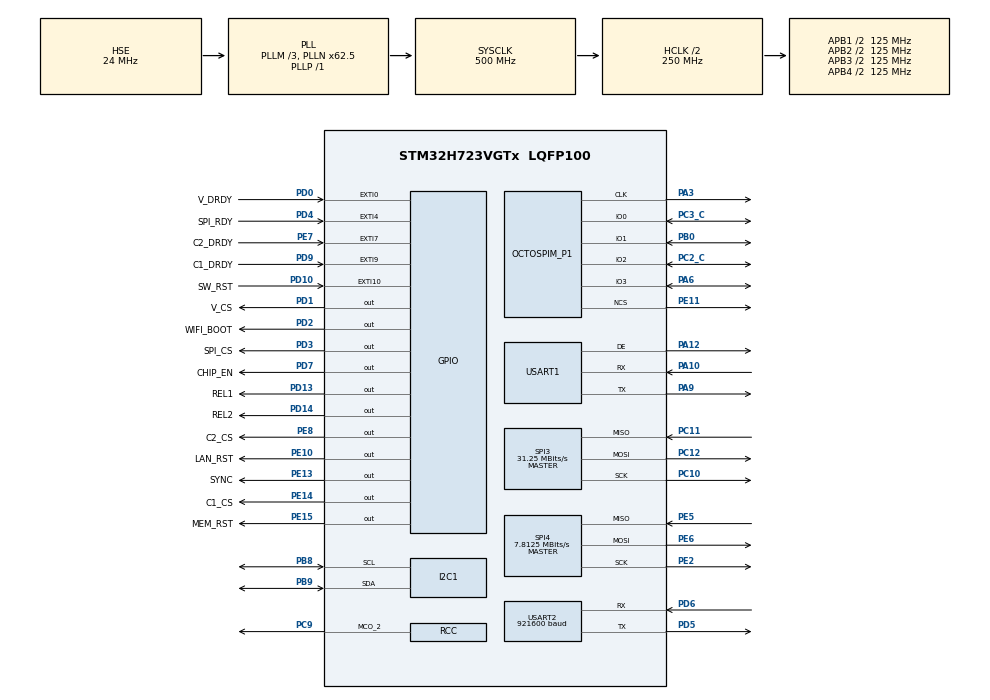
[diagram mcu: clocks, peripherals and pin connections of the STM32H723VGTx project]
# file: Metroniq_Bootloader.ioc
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CORTEX_M7.AccessPermission_S-Cortex_Memory_Protection_Unit_Region1_Settings_S=MPU_REGION_FULL_ACCESS
CORTEX_M7.AccessPermission_S-Cortex_Memory_Protection_Unit_Region2_Settings_S=MPU_REGION_FULL_ACCESS
CORTEX_M7.AccessPermission_S-Cortex_Memory_Protection_Unit_Region3_Settings_S=MPU_REGION_FULL_ACCESS
CORTEX_M7.BaseAddress_S-Cortex_Memory_Protection_Unit_Region1_Settings_S=0x30000000
CORTEX_M7.BaseAddress_S-Cortex_Memory_Protection_Unit_Region2_Settings_S=0x30000200
CORTEX_M7.BaseAddress_S-Cortex_Memory_Protection_Unit_Region3_Settings_S=0x90000000
CORTEX_M7.CPU_DCache=Enabled
CORTEX_M7.CPU_ICache=Enabled
CORTEX_M7.DisableExec_S-Cortex_Memory_Protection_Unit_Region1_Settings_S=MPU_INSTRUCTION_ACCESS_ENABLE
CORTEX_M7.Enable_S-Cortex_Memory_Protection_Unit_Region1_Settings_S=MPU_REGION_ENABLE
CORTEX_M7.Enable_S-Cortex_Memory_Protection_Unit_Region2_Settings_S=MPU_REGION_ENABLE
CORTEX_M7.Enable_S-Cortex_Memory_Protection_Unit_Region3_Settings_S=MPU_REGION_ENABLE
CORTEX_M7.IsBufferable_S-Cortex_Memory_Protection_Unit_Region1_Settings_S=MPU_ACCESS_BUFFERABLE
CORTEX_M7.IsBufferable_S-Cortex_Memory_Protection_Unit_Region3_Settings_S=MPU_ACCESS_BUFFERABLE
CORTEX_M7.IsCacheable_S-Cortex_Memory_Protection_Unit_Region1_Settings_S=MPU_ACCESS_NOT_CACHEABLE
CORTEX_M7.IsCacheable_S-Cortex_Memory_Protection_Unit_Region3_Settings_S=MPU_ACCESS_CACHEABLE
CORTEX_M7.IsShareable_S-Cortex_Memory_Protection_Unit_Region1_Settings_S=MPU_ACCESS_NOT_SHAREABLE
CORTEX_M7.IsShareable_S-Cortex_Memory_Protection_Unit_Region2_Settings_S=MPU_ACCESS_SHAREABLE
CORTEX_M7.IsShareable_S-Cortex_Memory_Protection_Unit_Region3_Settings_S=MPU_ACCESS_SHAREABLE
CORTEX_M7.Size_S-Cortex_Memory_Protection_Unit_Region1_Settings_S=MPU_REGION_SIZE_256B
CORTEX_M7.Size_S-Cortex_Memory_Protection_Unit_Region2_Settings_S=MPU_REGION_SIZE_32KB
CORTEX_M7.Size_S-Cortex_Memory_Protection_Unit_Region3_Settings_S=MPU_REGION_SIZE_64MB
CORTEX_M7.TypeExtField_S-Cortex_Memory_Protection_Unit_Region1_Settings_S=MPU_TEX_LEVEL0
CORTEX_M7.TypeExtField_S-Cortex_Memory_Protection_Unit_Region2_Settings_S=MPU_TEX_LEVEL1
CORTEX_M7.TypeExtField_S-Cortex_Memory_Protection_Unit_Region3_Settings_S=MPU_TEX_LEVEL1
CORTEX_M7.default_mode_Activation=1
Dma.Request0=SPI3_TX
Dma.Request1=SPI3_RX
Dma.Request2=SPI4_RX
Dma.Request3=SPI4_TX
Dma.SPI3_RX.1.Direction=DMA_PERIPH_TO_MEMORY
Dma.SPI3_RX.1.EventEnable=DISABLE
Dma.SPI3_RX.1.FIFOMode=DMA_FIFOMODE_DISABLE
Dma.SPI3_RX.1.Instance=DMA1_Stream1
Dma.SPI3_RX.1.MemDataAlignment=DMA_MDATAALIGN_BYTE
Dma.SPI3_RX.1.MemInc=DMA_MINC_ENABLE
Dma.SPI3_RX.1.Mode=DMA_NORMAL
Dma.SPI3_RX.1.PeriphDataAlignment=DMA_PDATAALIGN_BYTE
Dma.SPI3_RX.1.PeriphInc=DMA_PINC_DISABLE
Dma.SPI3_RX.1.Polarity=HAL_DMAMUX_REQ_GEN_RISING
Dma.SPI3_RX.1.Priority=DMA_PRIORITY_HIGH
Dma.SPI3_RX.1.RequestNumber=1
Dma.SPI3_RX.1.SignalID=NONE
Dma.SPI3_RX.1.SyncEnable=DISABLE
Dma.SPI3_RX.1.SyncPolarity=HAL_DMAMUX_SYNC_NO_EVENT
Dma.SPI3_RX.1.SyncRequestNumber=1
Dma.SPI3_RX.1.SyncSignalID=NONE
Dma.SPI3_TX.0.Direction=DMA_MEMORY_TO_PERIPH
Dma.SPI3_TX.0.EventEnable=DISABLE
Dma.SPI3_TX.0.FIFOMode=DMA_FIFOMODE_DISABLE
Dma.SPI3_TX.0.Instance=DMA1_Stream0
Dma.SPI3_TX.0.MemDataAlignment=DMA_MDATAALIGN_BYTE
Dma.SPI3_TX.0.MemInc=DMA_MINC_ENABLE
Dma.SPI3_TX.0.Mode=DMA_NORMAL
Dma.SPI3_TX.0.PeriphDataAlignment=DMA_PDATAALIGN_BYTE
Dma.SPI3_TX.0.PeriphInc=DMA_PINC_DISABLE
Dma.SPI3_TX.0.Polarity=HAL_DMAMUX_REQ_GEN_RISING
Dma.SPI3_TX.0.Priority=DMA_PRIORITY_HIGH
Dma.SPI3_TX.0.RequestNumber=1
Dma.SPI3_TX.0.SignalID=NONE
Dma.SPI3_TX.0.SyncEnable=DISABLE
Dma.SPI3_TX.0.SyncPolarity=HAL_DMAMUX_SYNC_NO_EVENT
Dma.SPI3_TX.0.SyncRequestNumber=1
Dma.SPI3_TX.0.SyncSignalID=NONE
Dma.SPI4_RX.2.Direction=DMA_PERIPH_TO_MEMORY
Dma.SPI4_RX.2.EventEnable=DISABLE
Dma.SPI4_RX.2.FIFOMode=DMA_FIFOMODE_DISABLE
Dma.SPI4_RX.2.Instance=DMA1_Stream2
Dma.SPI4_RX.2.MemDataAlignment=DMA_MDATAALIGN_BYTE
Dma.SPI4_RX.2.MemInc=DMA_MINC_ENABLE
Dma.SPI4_RX.2.Mode=DMA_NORMAL
Dma.SPI4_RX.2.PeriphDataAlignment=DMA_PDATAALIGN_BYTE
Dma.SPI4_RX.2.PeriphInc=DMA_PINC_DISABLE
Dma.SPI4_RX.2.Polarity=HAL_DMAMUX_REQ_GEN_RISING
Dma.SPI4_RX.2.Priority=DMA_PRIORITY_HIGH
Dma.SPI4_RX.2.RequestNumber=1
Dma.SPI4_RX.2.SignalID=NONE
Dma.SPI4_RX.2.SyncEnable=DISABLE
Dma.SPI4_RX.2.SyncPolarity=HAL_DMAMUX_SYNC_NO_EVENT
Dma.SPI4_RX.2.SyncRequestNumber=1
Dma.SPI4_RX.2.SyncSignalID=NONE
Dma.SPI4_TX.3.Direction=DMA_MEMORY_TO_PERIPH
Dma.SPI4_TX.3.EventEnable=DISABLE
Dma.SPI4_TX.3.FIFOMode=DMA_FIFOMODE_DISABLE
Dma.SPI4_TX.3.Instance=DMA1_Stream3
Dma.SPI4_TX.3.MemDataAlignment=DMA_MDATAALIGN_BYTE
Dma.SPI4_TX.3.MemInc=DMA_MINC_ENABLE
Dma.SPI4_TX.3.Mode=DMA_NORMAL
Dma.SPI4_TX.3.PeriphDataAlignment=DMA_PDATAALIGN_BYTE
Dma.SPI4_TX.3.PeriphInc=DMA_PINC_DISABLE
Dma.SPI4_TX.3.Polarity=HAL_DMAMUX_REQ_GEN_RISING
Dma.SPI4_TX.3.Priority=DMA_PRIORITY_HIGH
Dma.SPI4_TX.3.RequestNumber=1
Dma.SPI4_TX.3.SignalID=NONE
Dma.SPI4_TX.3.SyncEnable=DISABLE
Dma.SPI4_TX.3.SyncPolarity=HAL_DMAMUX_SYNC_NO_EVENT
Dma.SPI4_TX.3.SyncRequestNumber=1
Dma.SPI4_TX.3.SyncSignalID=NONE
I2C1.Timing=0x20A0A3F6
Mcu.Family=STM32H7
Mcu.Name=STM32H723VGTx
Mcu.Package=LQFP100
NVIC.CORDIC_IRQn=true\:0\:0\:false\:false\:true\:true\:true\:true
NVIC.DMA1_Stream0_IRQn=true\:0\:0\:false\:false\:true\:false\:true\:true
NVIC.DMA1_Stream1_IRQn=true\:0\:0\:false\:false\:true\:false\:true\:true
NVIC.DMA1_Stream2_IRQn=true\:0\:0\:false\:false\:true\:false\:true\:true
NVIC.DMA1_Stream3_IRQn=true\:0\:0\:false\:false\:true\:false\:true\:true
NVIC.EXTI0_IRQn=true\:0\:0\:false\:false\:true\:true\:true\:true
NVIC.EXTI15_10_IRQn=true\:0\:0\:false\:false\:true\:true\:true\:true
NVIC.EXTI4_IRQn=true\:0\:0\:false\:false\:true\:true\:true\:true
NVIC.EXTI9_5_IRQn=true\:0\:0\:false\:false\:true\:true\:true\:true
NVIC.OCTOSPI1_IRQn=true\:0\:0\:false\:false\:true\:true\:true\:true
NVIC.PriorityGroup=NVIC_PRIORITYGROUP_4
NVIC.SPI3_IRQn=true\:0\:0\:false\:false\:true\:false\:true\:true
NVIC.SPI4_IRQn=true\:0\:0\:false\:false\:true\:true\:true\:true
NVIC.TIM16_IRQn=true\:0\:0\:false\:false\:true\:true\:true\:true
NVIC.TIM1_UP_IRQn=true\:15\:0\:false\:false\:true\:false\:true\:true
NVIC.TimeBase=TIM1_UP_IRQn
NVIC.TimeBaseIP=TIM1
NVIC.USART1_IRQn=true\:0\:0\:false\:false\:true\:true\:true\:true
NVIC.USART2_IRQn=true\:0\:0\:false\:false\:true\:true\:true\:true
OCTOSPI1.ChipSelectHighTime=3
OCTOSPI1.ClockPrescaler=1
OCTOSPI1.DelayBlockBypass=HAL_OSPI_DELAY_BLOCK_USED
OCTOSPI1.DelayHoldQuarterCycle=HAL_OSPI_DHQC_ENABLE
OCTOSPI1.DeviceSize=26
OCTOSPI1.FifoThreshold=1
OCTOSPI1.MemoryType=HAL_OSPI_MEMTYPE_MACRONIX
PA10.Mode=Asynchronous
PA10.Signal=USART1_RX
PA12.Mode=Hardware Flow Control (RS485)
PA12.Signal=USART1_DE
PA13(JTMS/SWDIO).Mode=Trace_Asynchronous_SW
PA13(JTMS/SWDIO).Signal=DEBUG_JTMS-SWDIO
PA14(JTCK/SWCLK).Mode=Trace_Asynchronous_SW
PA14(JTCK/SWCLK).Signal=DEBUG_JTCK-SWCLK
PA3.Mode=O1_P1_CLK
PA3.Signal=OCTOSPIM_P1_CLK
PA6.Mode=OCTOSPI1_IOL_Port1L
PA6.Signal=OCTOSPIM_P1_IO3
PA9.Mode=Asynchronous
PA9.Signal=USART1_TX
PB0.Mode=OCTOSPI1_IOL_Port1L
PB0.Signal=OCTOSPIM_P1_IO1
PB3(JTDO/TRACESWO).Mode=Trace_Asynchronous_SW
PB3(JTDO/TRACESWO).Signal=DEBUG_JTDO-SWO
PB8.Mode=I2C
PB8.Signal=I2C1_SCL
PB9.Mode=I2C
PB9.Signal=I2C1_SDA
PC10.GPIO_Speed=GPIO_SPEED_FREQ_VERY_HIGH
PC10.Mode=Full_Duplex_Master
PC10.Signal=SPI3_SCK
PC11.GPIO_Speed=GPIO_SPEED_FREQ_VERY_HIGH
PC11.Mode=Full_Duplex_Master
PC11.Signal=SPI3_MISO
PC12.GPIO_Speed=GPIO_SPEED_FREQ_VERY_HIGH
PC12.Mode=Full_Duplex_Master
PC12.Signal=SPI3_MOSI
PC14-OSC32_IN.Mode=LSE-External-Oscillator
PC14-OSC32_IN.Signal=RCC_OSC32_IN
PC15-OSC32_OUT.Mode=LSE-External-Oscillator
PC15-OSC32_OUT.Signal=RCC_OSC32_OUT
PC2_C.Mode=OCTOSPI1_IOL_Port1L
PC2_C.Signal=OCTOSPIM_P1_IO2
PC3_C.Mode=OCTOSPI1_IOL_Port1L
PC3_C.Signal=OCTOSPIM_P1_IO0
PC9.Mode=Clock-out-2
PC9.Signal=RCC_MCO_2
PD0.GPIO_Label=V_DRDY
PD0.Signal=GPXTI0
PD1.GPIO_Label=V_CS
PD1.PinState=GPIO_PIN_SET
PD1.Signal=GPIO_Output
PD10.GPIO_Label=SW_RST
PD10.Signal=GPXTI10
PD13.GPIO_Label=REL1
PD13.PinState=GPIO_PIN_RESET
PD13.Signal=GPIO_Output
PD14.GPIO_Label=REL2
PD14.Signal=GPIO_Output
PD2.GPIO_Label=WIFI_BOOT
PD2.Signal=GPIO_Output
PD3.GPIO_Label=SPI_CS
PD3.GPIO_Speed=GPIO_SPEED_FREQ_HIGH
PD3.PinState=GPIO_PIN_SET
PD3.Signal=GPIO_Output
PD4.GPIO_Label=SPI_RDY
PD4.GPIO_ModeDefaultEXTI=GPIO_MODE_IT_RISING_FALLING
PD4.Signal=GPXTI4
PD5.Mode=Asynchronous
PD5.Signal=USART2_TX
PD6.Mode=Asynchronous
PD6.Signal=USART2_RX
PD7.GPIO_Label=CHIP_EN
PD7.GPIO_Speed=GPIO_SPEED_FREQ_HIGH
PD7.PinState=GPIO_PIN_RESET
PD7.Signal=GPIO_Output
PD9.GPIO_Label=C1_DRDY
PD9.Signal=GPXTI9
PE10.GPIO_Label=LAN_RST
PE10.PinState=GPIO_PIN_SET
PE10.Signal=GPIO_Output
PE11.Mode=OCTOSPI1_Port1_NCS
PE11.Signal=OCTOSPIM_P1_NCS
PE13.GPIO_Label=SYNC
PE13.PinState=GPIO_PIN_SET
PE13.Signal=GPIO_Output
PE14.GPIO_Label=C1_CS
PE14.PinState=GPIO_PIN_SET
PE14.Signal=GPIO_Output
PE15.GPIO_Label=MEM_RST
PE15.PinState=GPIO_PIN_SET
PE15.Signal=GPIO_Output
PE2.Mode=Full_Duplex_Master
PE2.Signal=SPI4_SCK
PE5.Mode=Full_Duplex_Master
PE5.Signal=SPI4_MISO
PE6.Mode=Full_Duplex_Master
PE6.Signal=SPI4_MOSI
PE7.GPIO_Label=C2_DRDY
PE7.Signal=GPXTI7
PE8.GPIO_Label=C2_CS
PE8.PinState=GPIO_PIN_SET
PE8.Signal=GPIO_Output
PH0-OSC_IN.Mode=HSE-External-Oscillator
PH0-OSC_IN.Signal=RCC_OSC_IN
PH1-OSC_OUT.Mode=HSE-External-Oscillator
PH1-OSC_OUT.Signal=RCC_OSC_OUT
ProjectManager.HeapSize=0x2000
ProjectManager.StackSize=0x4000
ProjectManager.TargetToolchain=STM32CubeIDE
RCC.ADCFreq_Value=48375000
RCC.APB1Freq_Value=125000000
RCC.APB2Freq_Value=125000000
RCC.APB3Freq_Value=125000000
RCC.APB4Freq_Value=125000000
RCC.CortexFreq_Value=500000000
RCC.D1PPRE=RCC_APB3_DIV2
RCC.D2PPRE1=RCC_APB1_DIV2
RCC.D2PPRE2=RCC_APB2_DIV2
RCC.D3PPRE=RCC_APB4_DIV2
RCC.DIVM1=3
RCC.DIVN1=62
RCC.DIVP1=1
RCC.HCLKFreq_Value=250000000
RCC.HPRE=RCC_HCLK_DIV2
RCC.HSE_VALUE=24000000
RCC.PLL2FRACN=0
RCC.PLL2_VCO_SEL-AdvancedSettings=RCC_PLL2VCOMEDIUM
RCC.PLL3FRACN=0
RCC.PLLFRACN=4096
RCC.PLLSourceVirtual=RCC_PLLSOURCE_HSE
RCC.QSPICLockSelection=RCC_OSPICLKSOURCE_CLKP
RCC.RCC_MCO2Source=RCC_MCO2SOURCE_HSE
RCC.RCC_MCODiv2=RCC_MCODIV_12
RCC.RTCClockSelection=RCC_RTCCLKSOURCE_LSE
RCC.SYSCLKFreq_VALUE=500000000
RCC.SYSCLKSource=RCC_SYSCLKSOURCE_PLLCLK
RCC.USBFreq_Value=250000000
SPI3.BaudRatePrescaler=SPI_BAUDRATEPRESCALER_8
SPI3.CalculateBaudRate=31.25 MBits/s
SPI3.DataSize=SPI_DATASIZE_8BIT
SPI3.Direction=SPI_DIRECTION_2LINES
SPI3.Mode=SPI_MODE_MASTER
SPI3.VirtualType=VM_MASTER
SPI4.BaudRatePrescaler=SPI_BAUDRATEPRESCALER_16
SPI4.CLKPhase=SPI_PHASE_2EDGE
SPI4.CalculateBaudRate=7.8125 MBits/s
SPI4.DataSize=SPI_DATASIZE_8BIT
SPI4.Direction=SPI_DIRECTION_2LINES
SPI4.Mode=SPI_MODE_MASTER
SPI4.VirtualType=VM_MASTER
STMicroelectronics.X-CUBE-ST67W61.1.0.0.BSP.number=2
STMicroelectronics.X-CUBE-ST67W61.1.0.0.LOG_LEVEL=LOG_NONE
STMicroelectronics.X-CUBE-ST67W61.1.0.0.W6X_CLOCK_MODE=2
STMicroelectronics.X-CUBE-ST67W61.1.0.0.W6X_WIFI_HOSTNAME=Metroniq
STMicroelectronics.X-CUBE-ST67W61.1.0.00.BSP.STBoard=false
STMicroelectronics.X-CUBE-ST67W61.1.0.00.BSP.api=Unknown
STMicroelectronics.X-CUBE-ST67W61.1.0.00.BSP.instance=USART2
STMicroelectronics.X-CUBE-ST67W61.1.0.00.BSP.ip=UART|USART|LPUART
STMicroelectronics.X-CUBE-ST67W61.1.0.00.BSP.mode=Asynchronous
STMicroelectronics.X-CUBE-ST67W61.1.0.00.BSP.name=LogSh_UART
STMicroelectronics.X-CUBE-ST67W61.1.0.00.BSP.solution=USART2
STMicroelectronics.X-CUBE-ST67W61.1.0.01.BSP.STBoard=false
STMicroelectronics.X-CUBE-ST67W61.1.0.01.BSP.api=Unknown
STMicroelectronics.X-CUBE-ST67W61.1.0.01.BSP.instance=SPI3
STMicroelectronics.X-CUBE-ST67W61.1.0.01.BSP.ip=SPI
STMicroelectronics.X-CUBE-ST67W61.1.0.01.BSP.mode=Full-Duplex Master
STMicroelectronics.X-CUBE-ST67W61.1.0.01.BSP.name=NCP_SPI
STMicroelectronics.X-CUBE-ST67W61.1.0.01.BSP.solution=SPI3
TIM16.Period=100
TIM16.Prescaler=549
USART1.VirtualMode-Asynchronous=VM_ASYNC
USART1.VirtualMode-Hardware\ Flow\ Control\ (RS485)=VM_ASYNC
USART2.BaudRate=921600
USART2.VirtualMode-Asynchronous=VM_ASYNC
VP_CORDIC_VS_CORDIC.Mode=CORDIC_Activate
VP_MEMORYMAP_VS_MEMORYMAP.Mode=CurAppReg
VP_OCTOSPI1_VS_quad.Mode=quad_mode
VP_SYS_VS_tim1.Mode=TIM1
VP_TIM16_VS_ClockSourceINT.Mode=Enable_Timer
board=custom

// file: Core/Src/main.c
/* USER CODE BEGIN Header */
/**
  ******************************************************************************
  * @file           : main.c
  * @brief          : Main program body
  ******************************************************************************
  * @attention
  *
  * Copyright (c) 2026 STMicroelectronics.
  * All rights reserved.
  *
  * This software is licensed under terms that can be found in the LICENSE file
  * in the root directory of this software component.
  * If no LICENSE file comes with this software, it is provided AS-IS.
  *
  ******************************************************************************
  */
/* USER CODE END Header */
#include "main.h"
#include "cordic.h"
#include "dma.h"
#include "i2c.h"
#include "octospi.h"
#include "spi.h"
#include "tim.h"
#include "usart.h"
#include "gpio.h"

/* USER CODE BEGIN Includes */
#include "MemManager.h"
/* USER CODE END Includes */

/* USER CODE BEGIN PV */
const struct
{
	char DeviceName[11];
	uint32_t FWVersion;
	uint32_t SN;
}FWInfo  __attribute__((section(".FWInfo"))) = {{'M','e','t','r','o','n','i','Q'},0x00000002, 0x00000001};

extern uint32_t _main_app_start_address;
Settings_t DeviceSettings;
/* USER CODE END PV */

void SystemClock_Config(void);
void PeriphCommonClock_Config(void);
static void MPU_Config(void);
/* USER CODE BEGIN PFP */
uint8_t ReadSettings(void);
static void PerformFWUpdate(void);
/* USER CODE END PFP */

/* USER CODE BEGIN 0 */
extern struct netif gnetif;
/* USER CODE END 0 */

int main(void)
{

  /* MPU Configuration--------------------------------------------------------*/
  MPU_Config();

  /* Enable the CPU Cache */

  /* Enable I-Cache---------------------------------------------------------*/
  SCB_EnableICache();

  /* Enable D-Cache---------------------------------------------------------*/
  SCB_EnableDCache();

  /* MCU Configuration--------------------------------------------------------*/

  /* Reset of all peripherals, Initializes the Flash interface and the Systick. */
  HAL_Init();

  /* Configure the system clock */
  SystemClock_Config();

  /* Configure the peripherals common clocks */
  PeriphCommonClock_Config();

  /* Initialize all configured peripherals */
  MX_GPIO_Init();
  MX_DMA_Init();
  MX_SPI3_Init();
  MX_SPI4_Init();
  MX_USART1_UART_Init();
  MX_I2C1_Init();
  MX_CORDIC_Init();
  MX_USART2_UART_Init();
  MX_OCTOSPI1_Init();
  MX_TIM16_Init();
  /* USER CODE BEGIN 2 */
  DTR_MemoryCfg();
  EnableMemMapped();
  LEDDriver_Init();
  HAL_Delay(1000);

  ReadSettings();

  char DeviceName[8];
  memcpy(&DeviceName[0], (__IO uint8_t *)(OCTOSPI1_BASE + SECTOR_SIZE + 0x2CC), 8);
  if(memcmp("MetroniQ", DeviceName, 8) == 0)
  {
	  SetStatusLED(WHITE);
	  PerformFWUpdate();
	  Memory_ClearCurrentFW();
  }

  JumptoApp();
  /* USER CODE END 2 */

  /* Infinite loop */
  while (1)
  {

  }
}

void SystemClock_Config(void)
{
  RCC_OscInitTypeDef RCC_OscInitStruct = {0};
  RCC_ClkInitTypeDef RCC_ClkInitStruct = {0};

  /** Supply configuration update enable
  */
  HAL_PWREx_ConfigSupply(PWR_LDO_SUPPLY);

  /** Configure the main internal regulator output voltage
  */
  __HAL_PWR_VOLTAGESCALING_CONFIG(PWR_REGULATOR_VOLTAGE_SCALE0);

  while(!__HAL_PWR_GET_FLAG(PWR_FLAG_VOSRDY)) {}

  /** Initializes the RCC Oscillators according to the specified parameters
  * in the RCC_OscInitTypeDef structure.
  */
  RCC_OscInitStruct.OscillatorType = RCC_OSCILLATORTYPE_HSI|RCC_OSCILLATORTYPE_HSE;
  RCC_OscInitStruct.HSEState = RCC_HSE_ON;
  RCC_OscInitStruct.HSIState = RCC_HSI_DIV1;
  RCC_OscInitStruct.HSICalibrationValue = 64;
  RCC_OscInitStruct.PLL.PLLState = RCC_PLL_ON;
  RCC_OscInitStruct.PLL.PLLSource = RCC_PLLSOURCE_HSE;
  RCC_OscInitStruct.PLL.PLLM = 3;
  RCC_OscInitStruct.PLL.PLLN = 62;
  RCC_OscInitStruct.PLL.PLLP = 1;
  RCC_OscInitStruct.PLL.PLLQ = 2;
  RCC_OscInitStruct.PLL.PLLR = 2;
  RCC_OscInitStruct.PLL.PLLRGE = RCC_PLL1VCIRANGE_3;
  RCC_OscInitStruct.PLL.PLLVCOSEL = RCC_PLL1VCOWIDE;
  RCC_OscInitStruct.PLL.PLLFRACN = 4096;
  if (HAL_RCC_OscConfig(&RCC_OscInitStruct) != HAL_OK)
  {
    Error_Handler();
  }

  /** Initializes the CPU, AHB and APB buses clocks
  */
  RCC_ClkInitStruct.ClockType = RCC_CLOCKTYPE_HCLK|RCC_CLOCKTYPE_SYSCLK
                              |RCC_CLOCKTYPE_PCLK1|RCC_CLOCKTYPE_PCLK2
                              |RCC_CLOCKTYPE_D3PCLK1|RCC_CLOCKTYPE_D1PCLK1;
  RCC_ClkInitStruct.SYSCLKSource = RCC_SYSCLKSOURCE_PLLCLK;
  RCC_ClkInitStruct.SYSCLKDivider = RCC_SYSCLK_DIV1;
  RCC_ClkInitStruct.AHBCLKDivider = RCC_HCLK_DIV2;
  RCC_ClkInitStruct.APB3CLKDivider = RCC_APB3_DIV2;
  RCC_ClkInitStruct.APB1CLKDivider = RCC_APB1_DIV2;
  RCC_ClkInitStruct.APB2CLKDivider = RCC_APB2_DIV2;
  RCC_ClkInitStruct.APB4CLKDivider = RCC_APB4_DIV2;

  if (HAL_RCC_ClockConfig(&RCC_ClkInitStruct, FLASH_LATENCY_3) != HAL_OK)
  {
    Error_Handler();
  }
  HAL_RCC_MCOConfig(RCC_MCO2, RCC_MCO2SOURCE_HSE, RCC_MCODIV_12);
}

void PeriphCommonClock_Config(void)
{
  RCC_PeriphCLKInitTypeDef PeriphClkInitStruct = {0};

  /** Initializes the peripherals clock
  */
  PeriphClkInitStruct.PeriphClockSelection = RCC_PERIPHCLK_CKPER;
  PeriphClkInitStruct.CkperClockSelection = RCC_CLKPSOURCE_HSI;
  if (HAL_RCCEx_PeriphCLKConfig(&PeriphClkInitStruct) != HAL_OK)
  {
    Error_Handler();
  }
}

/* USER CODE BEGIN 4 */
uint32_t GetDeviceSN()
{
	return FWInfo.SN;
}

uint32_t GetFWVersion()
{
	return FWInfo.FWVersion;
}

void JumptoApp(void)
{
    // disable global interrupt
    __disable_irq();
    HAL_NVIC_DisableIRQ(SysTick_IRQn);
    // main app start address defined in linker file

    uint32_t MemoryAddr = (uint32_t)&_main_app_start_address;
    uint32_t *pMem = (uint32_t *)MemoryAddr;

    // First address is the stack pointer initial value
    __set_MSP(*pMem); // Set stack pointer

    // Now get main app entry point address
    pMem++;
    SCB->VTOR = MemoryAddr;
    void (*pMainApp)(void) = (void (*)(void))(*pMem);
    HAL_DeInit();
    // Jump to main application (0x0802 0000)
    pMainApp();
}

static void PerformFWUpdate(void)
{
	FLASH_EraseInitTypeDef erase;
	uint8_t Buffer[16];
	uint8_t DeviceInfoMemorySector[16];
	uint8_t data_to_write[32];
	uint32_t SectorError;
	uint32_t y = 0;
	uint32_t FlashPackages = FW_MAX_SIZE / 32;

	uint32_t FlashAddress = MAIN_FW_ADDRESS;

	erase.TypeErase = FLASH_TYPEERASE_SECTORS;
	erase.Sector = FLASH_SECTOR_1;
	erase.NbSectors = 7;
	erase.Banks = FLASH_BANK_1;
	erase.VoltageRange = FLASH_VOLTAGE_RANGE_1;

	HAL_FLASH_Unlock();

	HAL_FLASHEx_Erase(&erase, &SectorError);

	while(y < FlashPackages)
	{
	      // bufor 32 bajtów
	    memcpy(data_to_write, (uint8_t *)(OCTOSPI1_BASE + SECTOR_SIZE + y * 32), 32);

	    // Programowanie FlashWord wymaga wskaźnika do bufora 32-bajtowego
	    HAL_FLASH_Program(FLASH_TYPEPROGRAM_FLASHWORD, FlashAddress, data_to_write);

	    FlashAddress += 32;  // zwiększamy o 32 bajty, żeby zachować wyrównanie
	    y++;
	}
	HAL_FLASH_Lock();

	DeviceSettings.NewFWAvailable = 0;
	DeviceSettings.NewFWSize = 0;

	Memory_SaveSettings();

}

uint8_t ReadSettings(void)
{
	uint8_t settings_valid = *(volatile const uint8_t *)(OCTOSPI1_BASE);
	if(settings_valid != 0xDE)
	{
		sprintf(DeviceSettings.Channel1_Name,"Channel 1");
		sprintf(DeviceSettings.Channel2_Name,"Channel 2");
		sprintf(DeviceSettings.Channel3_Name,"Channel 3");
		sprintf(DeviceSettings.Channel4_Name,"Channel 4");
		sprintf(DeviceSettings.Channel5_Name,"Channel 5");
		sprintf(DeviceSettings.Channel6_Name,"Channel 6");
		sprintf(DeviceSettings.Channel7_Name,"Channel 7");
		sprintf(DeviceSettings.Channel8_Name,"Channel 8");
		sprintf(DeviceSettings.Channel9_Name,"Channel 9");
		sprintf(DeviceSettings.Channel10_Name,"Channel 10");
		sprintf(DeviceSettings.Channel11_Name,"Channel 11");
		sprintf(DeviceSettings.Channel12_Name,"Channel 12");
		sprintf(DeviceSettings.Channel13_Name,"Channel 13");
		sprintf(DeviceSettings.Channel14_Name,"Channel 14");
		sprintf(DeviceSettings.Channel15_Name,"Channel 15");
		sprintf(DeviceSettings.Channel16_Name,"Channel 16");

		for(uint8_t i = 0; i < 16; i++)
		{
			DeviceSettings.PhaseAssignment[i] = i % 3;
			DeviceSettings.ActiveEnergy[i] = 0;
			DeviceSettings.ReactiveEnergy[i] = 0;
		}

		DeviceSettings.TotalActiveEnergy = 0;
		DeviceSettings.TotalReactiveEnergy = 0;

		DeviceSettings.DHCP_Enable = 0;

		DeviceSettings.StaticIP[0] = 192;
		DeviceSettings.StaticIP[1] = 168;
		DeviceSettings.StaticIP[2] = 1;
		DeviceSettings.StaticIP[3] = 11;

		DeviceSettings.StaticMask[0] = 255;
		DeviceSettings.StaticMask[1] = 255;
		DeviceSettings.StaticMask[2] = 255;
		DeviceSettings.StaticMask[3] = 0;

		DeviceSettings.StaticGateway[0] = 192;
		DeviceSettings.StaticGateway[1] = 168;
		DeviceSettings.StaticGateway[2] = 1;
		DeviceSettings.StaticGateway[3] = 1;

		DeviceSettings.NewFWAvailable = 0;
		DeviceSettings.NewFWSize = 0;

		Memory_SaveSettings();
		//Memory_SaveWiFiCredentials("Test", "Test2");
	}
	else
	{
		memcpy(&DeviceSettings, (__IO uint8_t *)OCTOSPI1_BASE + 0x1, sizeof(DeviceSettings));
	}
}
/* USER CODE END 4 */

 /* MPU Configuration */

void MPU_Config(void)
{
  MPU_Region_InitTypeDef MPU_InitStruct = {0};

  /* Disables the MPU */
  HAL_MPU_Disable();

  /** Initializes and configures the Region and the memory to be protected
  */
  MPU_InitStruct.Enable = MPU_REGION_ENABLE;
  MPU_InitStruct.Number = MPU_REGION_NUMBER0;
  MPU_InitStruct.BaseAddress = 0x0;
  MPU_InitStruct.Size = MPU_REGION_SIZE_4GB;
  MPU_InitStruct.SubRegionDisable = 0x87;
  MPU_InitStruct.TypeExtField = MPU_TEX_LEVEL0;
  MPU_InitStruct.AccessPermission = MPU_REGION_NO_ACCESS;
  MPU_InitStruct.DisableExec = MPU_INSTRUCTION_ACCESS_DISABLE;
  MPU_InitStruct.IsShareable = MPU_ACCESS_SHAREABLE;
  MPU_InitStruct.IsCacheable = MPU_ACCESS_NOT_CACHEABLE;
  MPU_InitStruct.IsBufferable = MPU_ACCESS_NOT_BUFFERABLE;

  HAL_MPU_ConfigRegion(&MPU_InitStruct);

  /** Initializes and configures the Region and the memory to be protected
  */
  MPU_InitStruct.Number = MPU_REGION_NUMBER1;
  MPU_InitStruct.BaseAddress = 0x30000000;
  MPU_InitStruct.Size = MPU_REGION_SIZE_256B;
  MPU_InitStruct.SubRegionDisable = 0x0;
  MPU_InitStruct.AccessPermission = MPU_REGION_FULL_ACCESS;
  MPU_InitStruct.DisableExec = MPU_INSTRUCTION_ACCESS_ENABLE;
  MPU_InitStruct.IsShareable = MPU_ACCESS_NOT_SHAREABLE;
  MPU_InitStruct.IsBufferable = MPU_ACCESS_BUFFERABLE;

  HAL_MPU_ConfigRegion(&MPU_InitStruct);

  /** Initializes and configures the Region and the memory to be protected
  */
  MPU_InitStruct.Number = MPU_REGION_NUMBER2;
  MPU_InitStruct.BaseAddress = 0x30000200;
  MPU_InitStruct.Size = MPU_REGION_SIZE_32KB;
  MPU_InitStruct.TypeExtField = MPU_TEX_LEVEL1;
  MPU_InitStruct.IsShareable = MPU_ACCESS_SHAREABLE;
  MPU_InitStruct.IsBufferable = MPU_ACCESS_NOT_BUFFERABLE;

  HAL_MPU_ConfigRegion(&MPU_InitStruct);

  /** Initializes and configures the Region and the memory to be protected
  */
  MPU_InitStruct.Number = MPU_REGION_NUMBER3;
  MPU_InitStruct.BaseAddress = 0x90000000;
  MPU_InitStruct.Size = MPU_REGION_SIZE_64MB;
  MPU_InitStruct.IsCacheable = MPU_ACCESS_CACHEABLE;
  MPU_InitStruct.IsBufferable = MPU_ACCESS_BUFFERABLE;

  HAL_MPU_ConfigRegion(&MPU_InitStruct);
  /* Enables the MPU */
  HAL_MPU_Enable(MPU_PRIVILEGED_DEFAULT);

}

void HAL_TIM_PeriodElapsedCallback(TIM_HandleTypeDef *htim)
{
  if (htim->Instance == TIM1)
  {
    HAL_IncTick();
  }
}

void Error_Handler(void)
{
  /* USER CODE BEGIN Error_Handler_Debug */
  /* User can add his own implementation to report the HAL error return state */
  __disable_irq();
  while (1)
  {
	  NVIC_SystemReset();
  }
  /* USER CODE END Error_Handler_Debug */
}
